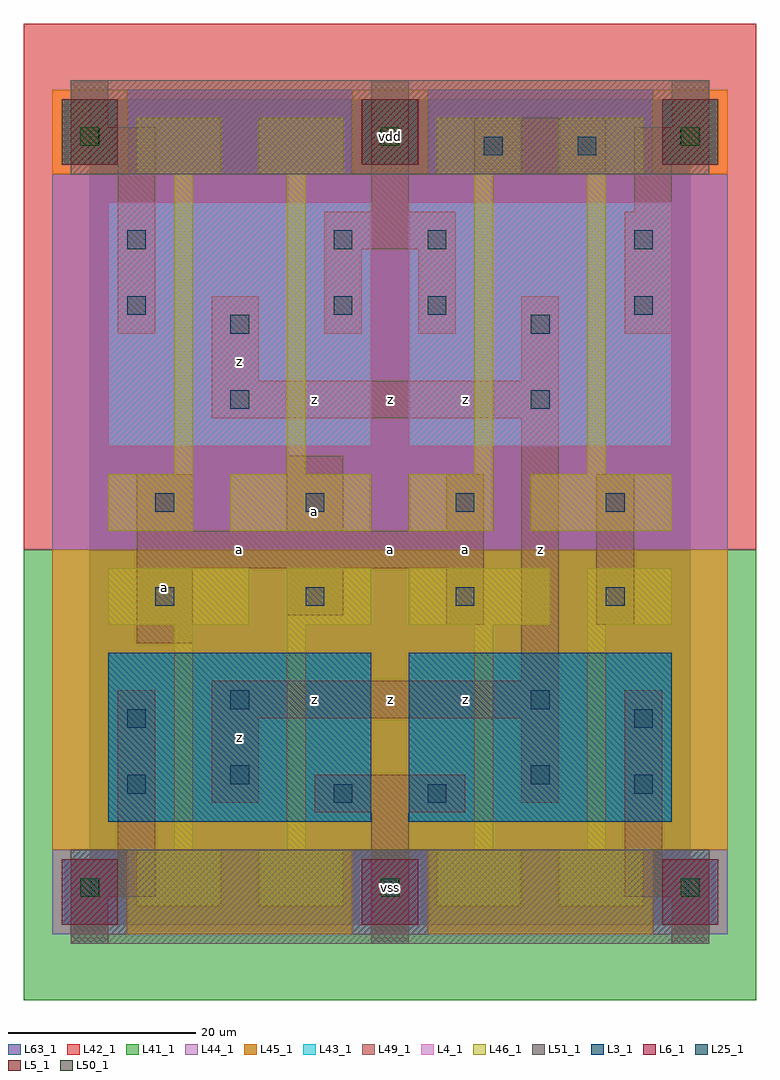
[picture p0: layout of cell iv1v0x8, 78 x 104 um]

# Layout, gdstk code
import gdstk
lib = gdstk.Library(unit=1e-6, precision=1e-09)
def R(c, l, rs):  # rectangles x0, y0, x1, y1
    for r in rs: c.add(gdstk.rectangle(r[:2], r[2:], *l))
def A(c, l, x, y, w, h, nx, ny, dx, dy):  # array of equal rectangles
    R(c, l, [(x+i*dx, y+j*dy, x+i*dx+w, y+j*dy+h) for i in range(nx) for j in range(ny)])
L3_1 = (3, 1)
L4_1 = (4, 1)
L5_1 = (5, 1)
L6_1 = (6, 1)
L25_1 = (25, 1)
L41_1 = (41, 1)
L42_1 = (42, 1)
L43_1 = (43, 1)
L44_1 = (44, 1)
L45_1 = (45, 1)
L46_1 = (46, 1)
L49_1 = (49, 1)
L50_1 = (50, 1)
L51_1 = (51, 1)
L63_1 = (63, 1)

iv1v0x8 = lib.new_cell('iv1v0x8')
R(iv1v0x8, L3_1, [(2,11,30,29), (34,11,62,29)])
R(iv1v0x8, L4_1, [(2,51,30,77), (34,51,62,77)])
A(iv1v0x8, L5_1, -3, 81, 6, 7, 3, 1, 32, 0)
R(iv1v0x8, L6_1, [(-3,0,3,7), (-3,0,3,7), (29,0,35,7), (29,0,35,7), (61,0,67,7), (61,0,67,7)])
A(iv1v0x8, L25_1, -1, 3, 2, 2, 3, 2, 32, 80)
A(iv1v0x8, L25_1, 7, 34, 2, 2, 4, 2, 16, 10)
R(iv1v0x8, L25_1, [(26,13,28,15), (36,13,38,15), (4,14,6,16), (58,14,60,16), (15,15,17,17), (47,15,49,17), (4,21,6,23), (58,21,60,23), (15,23,17,25), (47,23,49,25), (15,55,17,57), (47,55,49,57), (15,63,17,65), (47,63,49,65), (4,65,6,67), (26,65,28,67), (36,65,38,67), (58,65,60,67), (4,72,6,74), (26,72,28,74), (36,72,38,74), (58,72,60,74), (42,82,44,84), (52,82,54,84)])
R(iv1v0x8, L41_1, [(-7,-8,71,40)])
R(iv1v0x8, L42_1, [(-7,40,71,96)])
A(iv1v0x8, L43_1, -3, 0, 6, 7, 3, 2, 32, 81)
R(iv1v0x8, L43_1, [(2,11,30,29), (34,11,62,29), (2,51,30,77), (34,51,62,77)])
A(iv1v0x8, L44_1, -4, -1, 8, 9, 3, 1, 32, 0)
R(iv1v0x8, L44_1, [(-4,40,68,80), (4,80,28,89), (36,80,60,89)])
A(iv1v0x8, L45_1, -4, 80, 8, 9, 3, 1, 32, 0)
R(iv1v0x8, L45_1, [(4,-1,28,8), (36,-1,60,8), (-4,8,68,40)])
R(iv1v0x8, L46_1, [(5,2,14,8), (18,2,27,8), (37,2,46,8), (50,2,59,8), (9,8,11,32), (21,8,23,32), (41,8,43,32), (53,8,55,32), (2,32,17,38), (21,32,30,38), (34,32,49,38), (53,32,62,38), (2,42,11,48), (15,42,30,48), (34,42,43,48), (47,42,62,48), (9,48,11,80), (21,48,23,80), (41,48,43,80), (53,48,55,80), (5,80,14,86), (18,80,27,86), (37,80,46,86), (50,80,59,86)])
R(iv1v0x8, L49_1, [(-2,-2,2,3), (30,-2,34,12), (62,-2,66,3), (-2,3,7,7), (57,3,66,7), (3,7,7,25), (57,7,61,25), (24,12,40,16), (13,13,18,22), (46,13,50,22), (13,22,50,26), (46,26,50,54), (5,30,11,38), (38,32,42,38), (54,32,58,48), (21,33,27,38), (5,38,42,42), (5,42,11,48), (21,42,27,50), (38,42,42,48), (13,54,50,58), (13,58,18,67), (46,58,50,67), (3,63,7,81), (25,63,29,72), (35,63,39,72), (57,63,62,76), (25,72,39,76), (30,76,34,90), (58,76,62,81), (41,80,55,86), (-2,81,7,85), (58,81,66,85), (-2,85,2,90), (62,85,66,90)])
A(iv1v0x8, L50_1, -1, 3, 2, 2, 3, 2, 32, 80)
R(iv1v0x8, L51_1, [(-2,-2,66,8), (-2,80,66,90)])
R(iv1v0x8, L63_1, [(0,0,64,88)])
iv1v0x8.add(gdstk.Label('a', (8,36), layer=49, texttype=1))
iv1v0x8.add(gdstk.Label('z', (16,20), layer=49, texttype=1))
iv1v0x8.add(gdstk.Label('a', (16,40), layer=49, texttype=1))
iv1v0x8.add(gdstk.Label('z', (16,60), layer=49, texttype=1))
iv1v0x8.add(gdstk.Label('z', (24,24), layer=49, texttype=1))
iv1v0x8.add(gdstk.Label('z', (32,24), layer=49, texttype=1))
iv1v0x8.add(gdstk.Label('a', (24,44), layer=49, texttype=1))
iv1v0x8.add(gdstk.Label('a', (32,40), layer=49, texttype=1))
iv1v0x8.add(gdstk.Label('z', (32,56), layer=49, texttype=1))
iv1v0x8.add(gdstk.Label('z', (24,56), layer=49, texttype=1))
iv1v0x8.add(gdstk.Label('z', (40,24), layer=49, texttype=1))
iv1v0x8.add(gdstk.Label('a', (40,40), layer=49, texttype=1))
iv1v0x8.add(gdstk.Label('z', (48,40), layer=49, texttype=1))
iv1v0x8.add(gdstk.Label('z', (40,56), layer=49, texttype=1))
iv1v0x8.add(gdstk.Label('vss', (32,4), layer=51, texttype=1))
iv1v0x8.add(gdstk.Label('vdd', (32,84), layer=51, texttype=1))

lib.write_gds('iv1v0x8.gds')
